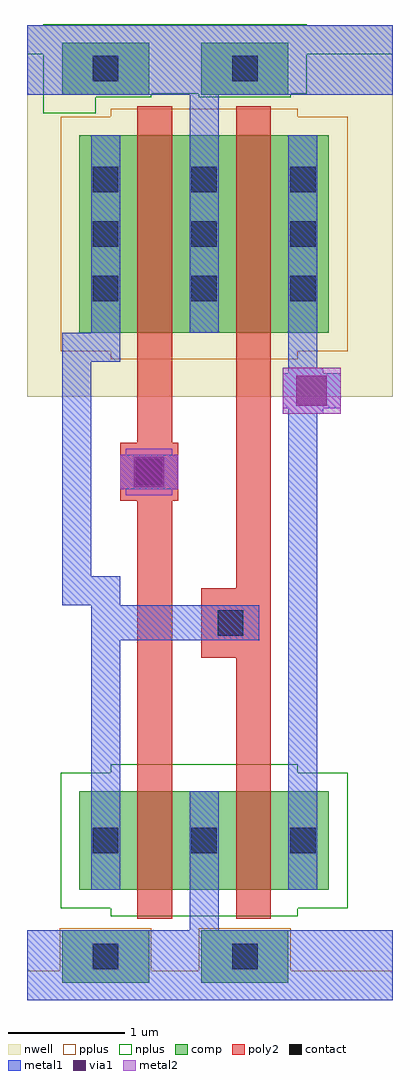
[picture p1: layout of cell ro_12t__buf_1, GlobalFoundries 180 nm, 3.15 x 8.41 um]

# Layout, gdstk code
import gdstk
lib = gdstk.Library(unit=1e-6, precision=1e-09)
def R(c, l, rs):  # rectangles x0, y0, x1, y1
    for r in rs: c.add(gdstk.rectangle(r[:2], r[2:], *l))
def A(c, l, x, y, w, h, nx, ny, dx, dy):  # array of equal rectangles
    R(c, l, [(x+i*dx, y+j*dy, x+i*dx+w, y+j*dy+h) for i in range(nx) for j in range(ny)])
nwell = (21, 0)
comp = (22, 0)
poly2 = (30, 0)
pplus = (31, 0)
nplus = (32, 0)
contact = (33, 0)
metal1 = (34, 0)
via1 = (35, 0)
metal2 = (36, 0)

ro_12t__buf_1 = lib.new_cell('ro_12t__buf_1')
R(ro_12t__buf_1, nwell, [(0,5.2,3.15,8.4)])
R(ro_12t__buf_1, comp, [(0.3,0.15,1.05,0.6), (1.5,0.15,2.25,0.6), (0.45,0.95,2.6,1.8), (0.45,5.75,2.6,7.45), (0.3,7.8,1.05,8.25), (1.5,7.8,2.25,8.25)])
R(ro_12t__buf_1, poly2, [(0.95,0.7,1.25,4.3), (1.8,0.7,2.1,2.95), (1.5,2.95,2.1,3.55), (1.8,3.55,2.1,7.7), (0.8,4.3,1.3,4.8), (0.95,4.8,1.25,7.7)])
R(ro_12t__buf_1, pplus, [(0,0,3.15,0.25), (0.28,0.13,1.07,0.62), (1.48,0.13,2.27,0.62), (0.72,5.52,2.33,5.59), (0.29,5.59,2.76,7.61), (0.72,7.61,2.33,7.68)])
R(ro_12t__buf_1, nplus, [(0.72,0.72,2.33,0.79), (0.29,0.79,2.76,1.96), (0.72,1.96,2.33,2.03), (0.14,7.64,0.59,7.78), (0.14,7.78,1.07,7.81), (1.48,7.78,2.27,7.81), (0.14,7.81,2.41,8.15), (0,8.15,3.15,8.4), (0,8.15,3.15,8.4), (0.14,8.4,2.41,8.41)])
A(ro_12t__buf_1, contact, 0.565, 1.265, 0.22, 0.22, 3, 2, 0.85, 4.755)
A(ro_12t__buf_1, contact, 0.565, 6.49, 0.22, 0.22, 3, 2, 0.85, 0.47)
R(ro_12t__buf_1, contact, [(0.565,0.265,0.785,0.485), (1.765,0.265,1.985,0.485), (1.64,3.14,1.86,3.36), (0.94,4.44,1.16,4.66), (0.565,7.915,0.785,8.135), (1.765,7.915,1.985,8.135)])
R(ro_12t__buf_1, metal1, [(0,0,3.15,0.6), (1.4,0.6,1.65,1.8), (0.55,0.95,0.8,3.1), (2.25,0.95,2.5,5.05), (0.55,3.1,2,3.4), (0.3,3.4,0.8,3.65), (0.3,3.65,0.55,5.5), (0.8,4.4,1.3,4.7), (2.25,5.05,2.55,5.1), (2.2,5.1,2.7,5.4), (2.25,5.4,2.55,5.45), (2.25,5.45,2.5,7.45), (0.3,5.5,0.8,5.75), (0.55,5.75,0.8,7.45), (1.4,5.75,1.65,7.8), (0,7.8,3.15,8.4)])
R(ro_12t__buf_1, via1, [(0.92,4.42,1.18,4.68), (2.32,5.12,2.58,5.38)])
R(ro_12t__buf_1, metal2, [(0.85,4.35,1.25,4.4), (0.8,4.4,1.3,4.7), (0.85,4.7,1.25,4.75), (2.2,5.05,2.7,5.45)])

lib.write_gds('ro_12t__buf_1.gds')
